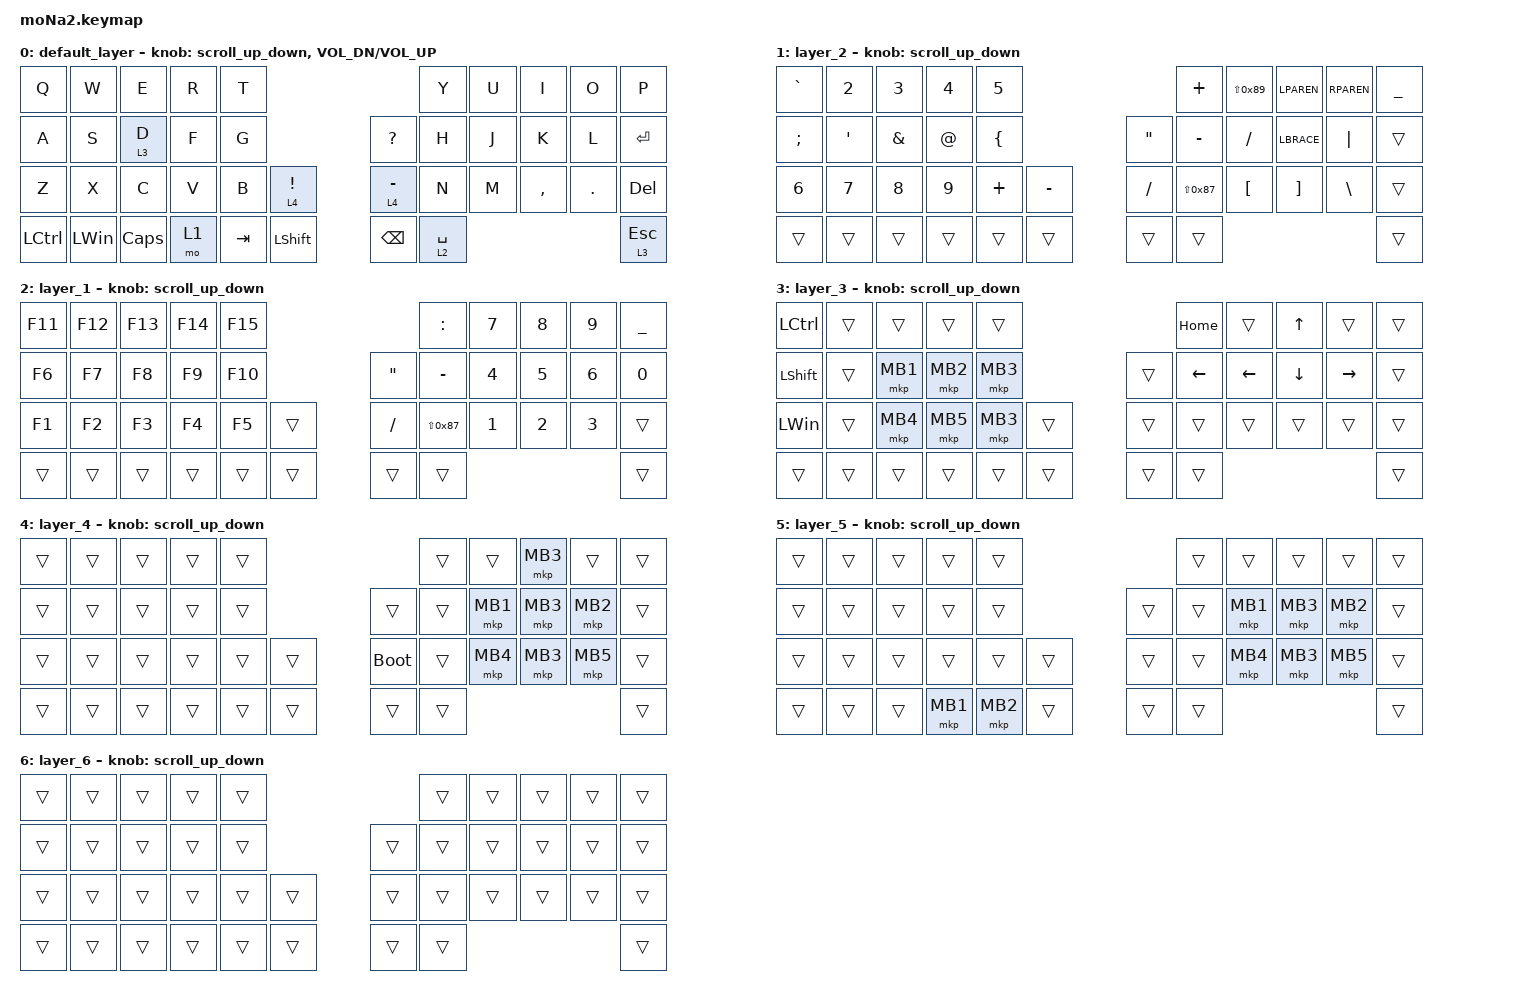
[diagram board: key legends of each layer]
#include <behaviors.dtsi>
#include <dt-bindings/zmk/keys.h>
#include <dt-bindings/zmk/pointing.h>
  
#define ZMK_POINTING_DEFAULT_SCRL_VAL 100
#define MOUSE 5
#define SCROLL 6
#define JP_DQUOTE       AT                // "
#define JP_AMPERSAND    CARET             // &
#define JP_QUOTE        AMPERSAND         // '
#define JP_EQUAL        UNDER             // =
#define JP_CARET        EQUAL             // ^
#define JP_YEN          0x89              // ¥
#define JP_PLUS         COLON             // +
#define JP_TILDE        PLUS              // ~
#define JP_PIPE         LS(0x89)          // |
#define JP_AT           LEFT_BRACKET      // @
#define JP_COLON        SINGLE_QUOTE      // :
#define JP_ASTERISK     DOUBLE_QUOTES     // *
#define JP_BACKQUOTE    LEFT_BRACE        // `
#define JP_UNDERSCORE   LS(0x87)          // _
#define JP_LBRACKET     RIGHT_BRACKET     // [
#define JP_RBRACKET     BACKSLASH         // ]
#define JP_LPAREN       ASTERISK          // (
#define JP_RPAREN       LEFT_PARENTHESIS  // )
#define JP_LBRACE       RIGHT_BRACE       // {
#define JP_RBRACE       PIPE              // }
#define JP_KANA         LANGUAGE_1        // かな
#define JP_EISU         LANGUAGE_2        // 英数
#define JP_HANZEN       GRAVE             // 半角/全角


&mt {
    flavor = "balanced";
    quick-tap-ms = <0>;
};

/ {
    combos { compatible = "zmk,combos"; };

    macros {
        to_layer_0: to_layer_0 {
            compatible = "zmk,behavior-macro-one-param";
            #binding-cells = <1>;
            bindings = <&to 0 &macro_param_1to1 &kp MACRO_PLACEHOLDER>;
            label = "TO_LAYER_0";
        };
    };

    behaviors {
        lt_to_layer_0: lt_to_layer_0 {
            compatible = "zmk,behavior-hold-tap";
            label = "LAYER_TAP_TO_0";
            bindings = <&mo>, <&to_layer_0>;

            #binding-cells = <2>;
            tapping-term-ms = <200>;
        };

        scroll_up_down: behavior_sensor_rotate_mouse_wheel_up_down {
            compatible = "zmk,behavior-sensor-rotate";
            #sensor-binding-cells = <0>;
            bindings = <&msc SCRL_UP>, <&msc SCRL_DOWN>;

            tap-ms = <20>;
        };
    };

    keymap {
        compatible = "zmk,keymap";

        default_layer {
            bindings = <
&kp Q      &kp W         &kp E     &kp R  &kp T                                        &kp Y        &kp U  &kp I      &kp O    &kp P
&kp A      &kp S         &lt 3 D   &kp F  &kp G                         &kp QUESTION   &kp H        &kp J  &kp K      &kp L    &kp ENTER
&kp Z      &kp X         &kp C     &kp V  &kp B    &lt 4 EXCLAMATION    &lt 4 MINUS    &kp N        &kp M  &kp COMMA  &kp DOT  &kp DELETE
&kp LCTRL  &kp LEFT_WIN  &kp CAPS  &mo 1  &kp TAB  &kp LSHIFT           &kp BACKSPACE  &lt 2 SPACE                             &lt 3 ESCAPE
            >;

            sensor-bindings =
                <&scroll_up_down>,
                <&inc_dec_kp C_VOL_DN C_VOL_UP>;
        };

        layer_2 {
            bindings = <
&kp JP_HANZEN   &kp NUMBER_2  &kp NUMBER_3  &kp NUMBER_4       &kp N5                                   &kp PLUS        &kp JP_PIPE     &kp LPAREN  &kp RPAREN  &kp JP_EQUAL
&kp SEMICOLON  &kp JP_COLON  &kp JP_QUOTE  &kp JP_DQUOTE      &kp JP_BACKQUOTE              &kp JP_ASTERISK  &kp MINUS       &kp SLASH    &kp LBRACE        &kp JP_RBRACE        &trans
&kp NUMBER_6   &kp N7        &kp N8        &kp N9             &kp JP_TILDE     &kp MINUS    &kp SLASH  &kp JP_UNDERSCORE  &kp JP_AT  &kp JP_LBRACKET       &kp JP_RBRACKET      &trans
&trans         &trans        &trans        &trans             &trans           &trans       &trans     &trans                                                                    &trans
            >;

            sensor-bindings = <&scroll_up_down>;
        };

        layer_1 {
            bindings = <
&kp F11  &kp F12  &kp F13  &kp F14  &kp F15                          &kp JP_PLUS   &kp N7        &kp N8        &kp N9        &kp JP_EQUAL
&kp F6   &kp F7   &kp F8   &kp F9   &kp F10            &kp JP_ASTERISK  &kp MINUS  &kp N4        &kp N5        &kp NUMBER_6  &kp N0
&kp F1   &kp F2   &kp F3   &kp F4   &kp F5   &trans    &kp SLASH     &kp JP_UNDERSCORE  &kp NUMBER_1  &kp NUMBER_2  &kp NUMBER_3  &trans
&trans   &trans   &trans   &trans   &trans   &trans    &trans        &trans                                               &trans
            >;

            sensor-bindings = <&scroll_up_down>;
        };

        layer_3 {
            bindings = <
&kp LCTRL       &trans  &trans    &trans    &trans                      &kp HOME  &trans    &kp UP    &trans     &trans
&kp LEFT_SHIFT  &trans  &mkp MB1  &mkp MB2  &mkp MB3            &trans  &kp LEFT  &kp LEFT  &kp DOWN  &kp RIGHT  &trans
&kp LEFT_WIN    &trans  &mkp MB4  &mkp MB5  &mkp MB3  &trans    &trans  &trans    &trans    &trans    &trans     &trans
&trans          &trans  &trans    &trans    &trans    &trans    &trans  &trans                                   &trans
            >;

            sensor-bindings = <&scroll_up_down>;
        };

        layer_4 {
            bindings = <
&trans  &trans  &trans  &trans  &trans                         &trans  &trans    &mkp MB3  &trans    &trans
&trans  &trans  &trans  &trans  &trans            &trans       &trans  &mkp MB1  &mkp MB3  &mkp MB2  &trans
&trans  &trans  &trans  &trans  &trans  &trans    &bootloader  &trans  &mkp MB4  &mkp MB3  &mkp MB5  &trans
&trans  &trans  &trans  &trans  &trans  &trans    &trans       &trans                                &trans
            >;

            sensor-bindings = <&scroll_up_down>;
        };

        layer_5 {
            bindings = <
&trans  &trans  &trans  &trans    &trans                      &trans  &trans    &trans    &trans    &trans
&trans  &trans  &trans  &trans    &trans              &trans  &trans  &mkp MB1  &mkp MB3  &mkp MB2  &trans
&trans  &trans  &trans  &trans    &trans    &trans    &trans  &trans  &mkp MB4  &mkp MB3  &mkp MB5  &trans
&trans  &trans  &trans  &mkp MB1  &mkp MB2  &trans    &trans  &trans                                &trans
            >;

            sensor-bindings = <&scroll_up_down>;
        };

        layer_6 {
            bindings = <
&trans  &trans  &trans  &trans  &trans                    &trans  &trans  &trans  &trans  &trans
&trans  &trans  &trans  &trans  &trans            &trans  &trans  &trans  &trans  &trans  &trans
&trans  &trans  &trans  &trans  &trans  &trans    &trans  &trans  &trans  &trans  &trans  &trans
&trans  &trans  &trans  &trans  &trans  &trans    &trans  &trans                          &trans
            >;

            sensor-bindings = <&scroll_up_down>;
        };
    };
};
